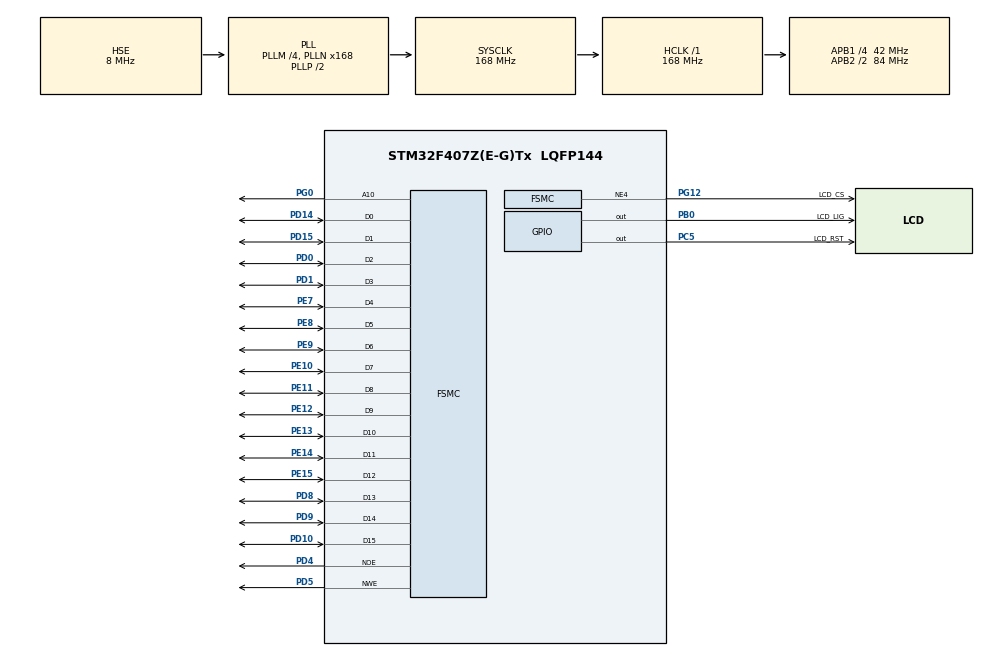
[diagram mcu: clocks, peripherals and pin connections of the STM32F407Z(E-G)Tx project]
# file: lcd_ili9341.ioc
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FSMC.AddressSetupTime1=6
FSMC.BusTurnAroundDuration1=0
FSMC.DataSetupTime1=6
Mcu.Family=STM32F4
Mcu.Name=STM32F407Z(E-G)Tx
Mcu.Package=LQFP144
NVIC.PriorityGroup=NVIC_PRIORITYGROUP_4
PB0.GPIO_Label=LCD_LIG
PB0.PinState=GPIO_PIN_SET
PB0.Signal=GPIO_Output
PC5.GPIO_Label=LCD_RST
PC5.PinState=GPIO_PIN_RESET
PC5.Signal=GPIO_Output
PD0.Signal=FSMC_D2_DA2
PD1.Signal=FSMC_D3_DA3
PD10.Signal=FSMC_D15_DA15
PD14.Signal=FSMC_D0_DA0
PD15.Signal=FSMC_D1_DA1
PD4.Signal=FSMC_NOE
PD5.Signal=FSMC_NWE
PD8.Signal=FSMC_D13_DA13
PD9.Signal=FSMC_D14_DA14
PE10.Signal=FSMC_D7_DA7
PE11.Signal=FSMC_D8_DA8
PE12.Signal=FSMC_D9_DA9
PE13.Signal=FSMC_D10_DA10
PE14.Signal=FSMC_D11_DA11
PE15.Signal=FSMC_D12_DA12
PE7.Signal=FSMC_D4_DA4
PE8.Signal=FSMC_D5_DA5
PE9.Signal=FSMC_D6_DA6
PG0.Signal=FSMC_A10
PG12.GPIO_Label=LCD_CS
PG12.Mode=NorPsramChipSelect4_1
PG12.Signal=FSMC_NE4
PH0-OSC_IN.Mode=HSE-External-Oscillator
PH0-OSC_IN.Signal=RCC_OSC_IN
PH1-OSC_OUT.Mode=HSE-External-Oscillator
PH1-OSC_OUT.Signal=RCC_OSC_OUT
ProjectManager.HeapSize=0x200
ProjectManager.StackSize=0x400
ProjectManager.TargetToolchain=SW4STM32
RCC.48MHZClocksFreq_Value=84000000
RCC.AHBFreq_Value=168000000
RCC.APB1CLKDivider=RCC_HCLK_DIV4
RCC.APB1Freq_Value=42000000
RCC.APB1TimFreq_Value=84000000
RCC.APB2CLKDivider=RCC_HCLK_DIV2
RCC.APB2Freq_Value=84000000
RCC.APB2TimFreq_Value=168000000
RCC.CortexFreq_Value=168000000
RCC.HCLKFreq_Value=168000000
RCC.HSE_VALUE=8000000
RCC.HSI_VALUE=16000000
RCC.LSE_VALUE=32768
RCC.PLLM=4
RCC.PLLN=168
RCC.PLLSourceVirtual=RCC_PLLSOURCE_HSE
RCC.SYSCLKFreq_VALUE=168000000
RCC.SYSCLKSource=RCC_SYSCLKSOURCE_PLLCLK
RCC.VCOOutputFreq_Value=336000000
SH.FSMC_A10.0=FSMC_A10,A10_1
SH.FSMC_D0_DA0.0=FSMC_D0,16b-d1
SH.FSMC_D10_DA10.0=FSMC_D10,16b-d1
SH.FSMC_D11_DA11.0=FSMC_D11,16b-d1
SH.FSMC_D12_DA12.0=FSMC_D12,16b-d1
SH.FSMC_D13_DA13.0=FSMC_D13,16b-d1
SH.FSMC_D14_DA14.0=FSMC_D14,16b-d1
SH.FSMC_D15_DA15.0=FSMC_D15,16b-d1
SH.FSMC_D1_DA1.0=FSMC_D1,16b-d1
SH.FSMC_D2_DA2.0=FSMC_D2,16b-d1
SH.FSMC_D3_DA3.0=FSMC_D3,16b-d1
SH.FSMC_D4_DA4.0=FSMC_D4,16b-d1
SH.FSMC_D5_DA5.0=FSMC_D5,16b-d1
SH.FSMC_D6_DA6.0=FSMC_D6,16b-d1
SH.FSMC_D7_DA7.0=FSMC_D7,16b-d1
SH.FSMC_D8_DA8.0=FSMC_D8,16b-d1
SH.FSMC_D9_DA9.0=FSMC_D9,16b-d1
SH.FSMC_NOE.0=FSMC_NOE,Lcd1
SH.FSMC_NWE.0=FSMC_NWE,Lcd1
board=custom

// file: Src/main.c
/* USER CODE BEGIN Header */
/**
  ******************************************************************************
  * @file           : main.c
  * @brief          : Main program body
  ******************************************************************************
  * @attention
  *
  * <h2><center>&copy; Copyright (c) 2019 STMicroelectronics.
  * All rights reserved.</center></h2>
  *
  * This software component is licensed by ST under BSD 3-Clause license,
  * the "License"; You may not use this file except in compliance with the
  * License. You may obtain a copy of the License at:
  *                        opensource.org/licenses/BSD-3-Clause
  *
  ******************************************************************************
  */
/* USER CODE END Header */

#include "main.h"
#include "MA_ILI9341.h"

/* USER CODE BEGIN PTD */
#define LCD_COMMAND 0x6C000000

#define LCD_DATA 0x6C000800

#define SCREEN_VERTICAL_1			0
#define SCREEN_HORIZONTAL_1		1
#define SCREEN_VERTICAL_2			2
#define SCREEN_HORIZONTAL_2		3

#define ILI9341_SCREEN_HEIGHT 240
#define ILI9341_SCREEN_WIDTH 	320
/* USER CODE END PTD */

/* USER CODE BEGIN PD */

typedef unsigned char       u8;
typedef unsigned short      u16;
typedef struct
{
	u16 LCD_REG;
	u16 LCD_RAM;
} LCD_TypeDef;
#define	 LCD_BASE        ((u16)(0x6C000000 | 0x000007FE))
#define  LCD             ((LCD_TypeDef *) LCD_BASE)
/* USER CODE END PD */

SRAM_HandleTypeDef hsram1;

void SystemClock_Config(void);
static void MX_GPIO_Init(void);
static void MX_FSMC_Init(void);

int main(void)
{

  /* MCU Configuration--------------------------------------------------------*/

  /* Reset of all peripherals, Initializes the Flash interface and the Systick. */
  HAL_Init();

  /* Configure the system clock */
  SystemClock_Config();

  /* Initialize all configured peripherals */
  MX_GPIO_Init();
  MX_FSMC_Init();
  /* USER CODE BEGIN 2 */
  HAL_GPIO_WritePin(LCD_RST_GPIO_Port, LCD_RST_Pin, GPIO_PIN_RESET);
  	HAL_Delay(20);
  	HAL_GPIO_WritePin(LCD_RST_GPIO_Port, LCD_RST_Pin, GPIO_PIN_SET);
  	HAL_Delay(200);
  	ILI9341_Init();
  	ILI9341_setRotation(3);
  	ILI9341_Fill(COLOR_BLUE);

  		//Draw and fill circle
  		ILI9341_drawCircle(50,50, 40, COLOR_GREEN);
  		ILI9341_fillCircle(110,190, 80, COLOR_RED);
  		//Print text
  		ILI9341_printText("TEST!!!", 10, 90, COLOR_YELLOW, COLOR_YELLOW, 1);
  		//Print-Fill triangle
  		ILI9341_fillTriangle(10, 160, 110, 160, 190, 300, COLOR_BLACK);

  /* Infinite loop */
  while (1)
  {

  }
}

void SystemClock_Config(void)
{
  RCC_OscInitTypeDef RCC_OscInitStruct = {0};
  RCC_ClkInitTypeDef RCC_ClkInitStruct = {0};

  /** Configure the main internal regulator output voltage
  */
  __HAL_RCC_PWR_CLK_ENABLE();
  __HAL_PWR_VOLTAGESCALING_CONFIG(PWR_REGULATOR_VOLTAGE_SCALE1);
  /** Initializes the CPU, AHB and APB busses clocks
  */
  RCC_OscInitStruct.OscillatorType = RCC_OSCILLATORTYPE_HSE;
  RCC_OscInitStruct.HSEState = RCC_HSE_ON;
  RCC_OscInitStruct.PLL.PLLState = RCC_PLL_ON;
  RCC_OscInitStruct.PLL.PLLSource = RCC_PLLSOURCE_HSE;
  RCC_OscInitStruct.PLL.PLLM = 4;
  RCC_OscInitStruct.PLL.PLLN = 168;
  RCC_OscInitStruct.PLL.PLLP = RCC_PLLP_DIV2;
  RCC_OscInitStruct.PLL.PLLQ = 4;
  if (HAL_RCC_OscConfig(&RCC_OscInitStruct) != HAL_OK)
  {
    Error_Handler();
  }
  /** Initializes the CPU, AHB and APB busses clocks
  */
  RCC_ClkInitStruct.ClockType = RCC_CLOCKTYPE_HCLK|RCC_CLOCKTYPE_SYSCLK
                              |RCC_CLOCKTYPE_PCLK1|RCC_CLOCKTYPE_PCLK2;
  RCC_ClkInitStruct.SYSCLKSource = RCC_SYSCLKSOURCE_PLLCLK;
  RCC_ClkInitStruct.AHBCLKDivider = RCC_SYSCLK_DIV1;
  RCC_ClkInitStruct.APB1CLKDivider = RCC_HCLK_DIV4;
  RCC_ClkInitStruct.APB2CLKDivider = RCC_HCLK_DIV2;

  if (HAL_RCC_ClockConfig(&RCC_ClkInitStruct, FLASH_LATENCY_5) != HAL_OK)
  {
    Error_Handler();
  }
}

static void MX_GPIO_Init(void)
{
  GPIO_InitTypeDef GPIO_InitStruct = {0};

  /* GPIO Ports Clock Enable */
  __HAL_RCC_GPIOH_CLK_ENABLE();
  __HAL_RCC_GPIOC_CLK_ENABLE();
  __HAL_RCC_GPIOB_CLK_ENABLE();
  __HAL_RCC_GPIOG_CLK_ENABLE();
  __HAL_RCC_GPIOE_CLK_ENABLE();
  __HAL_RCC_GPIOD_CLK_ENABLE();

  /*Configure GPIO pin Output Level */
  HAL_GPIO_WritePin(LCD_RST_GPIO_Port, LCD_RST_Pin, GPIO_PIN_RESET);

  /*Configure GPIO pin Output Level */
  HAL_GPIO_WritePin(LCD_LIG_GPIO_Port, LCD_LIG_Pin, GPIO_PIN_SET);

  /*Configure GPIO pin : LCD_RST_Pin */
  GPIO_InitStruct.Pin = LCD_RST_Pin;
  GPIO_InitStruct.Mode = GPIO_MODE_OUTPUT_PP;
  GPIO_InitStruct.Pull = GPIO_NOPULL;
  GPIO_InitStruct.Speed = GPIO_SPEED_FREQ_LOW;
  HAL_GPIO_Init(LCD_RST_GPIO_Port, &GPIO_InitStruct);

  /*Configure GPIO pin : LCD_LIG_Pin */
  GPIO_InitStruct.Pin = LCD_LIG_Pin;
  GPIO_InitStruct.Mode = GPIO_MODE_OUTPUT_PP;
  GPIO_InitStruct.Pull = GPIO_NOPULL;
  GPIO_InitStruct.Speed = GPIO_SPEED_FREQ_LOW;
  HAL_GPIO_Init(LCD_LIG_GPIO_Port, &GPIO_InitStruct);

}

/* FSMC initialization function */
static void MX_FSMC_Init(void)
{

  FSMC_NORSRAM_TimingTypeDef Timing = {0};

  /** Perform the SRAM1 memory initialization sequence
  */
  hsram1.Instance = FSMC_NORSRAM_DEVICE;
  hsram1.Extended = FSMC_NORSRAM_EXTENDED_DEVICE;
  /* hsram1.Init */
  hsram1.Init.NSBank = FSMC_NORSRAM_BANK4;
  hsram1.Init.DataAddressMux = FSMC_DATA_ADDRESS_MUX_DISABLE;
  hsram1.Init.MemoryType = FSMC_MEMORY_TYPE_SRAM;
  hsram1.Init.MemoryDataWidth = FSMC_NORSRAM_MEM_BUS_WIDTH_16;
  hsram1.Init.BurstAccessMode = FSMC_BURST_ACCESS_MODE_DISABLE;
  hsram1.Init.WaitSignalPolarity = FSMC_WAIT_SIGNAL_POLARITY_LOW;
  hsram1.Init.WrapMode = FSMC_WRAP_MODE_DISABLE;
  hsram1.Init.WaitSignalActive = FSMC_WAIT_TIMING_BEFORE_WS;
  hsram1.Init.WriteOperation = FSMC_WRITE_OPERATION_ENABLE;
  hsram1.Init.WaitSignal = FSMC_WAIT_SIGNAL_DISABLE;
  hsram1.Init.ExtendedMode = FSMC_EXTENDED_MODE_DISABLE;
  hsram1.Init.AsynchronousWait = FSMC_ASYNCHRONOUS_WAIT_DISABLE;
  hsram1.Init.WriteBurst = FSMC_WRITE_BURST_DISABLE;
  hsram1.Init.PageSize = FSMC_PAGE_SIZE_NONE;
  /* Timing */
  Timing.AddressSetupTime = 6;
  Timing.AddressHoldTime = 15;
  Timing.DataSetupTime = 6;
  Timing.BusTurnAroundDuration = 0;
  Timing.CLKDivision = 16;
  Timing.DataLatency = 17;
  Timing.AccessMode = FSMC_ACCESS_MODE_A;
  /* ExtTiming */

  if (HAL_SRAM_Init(&hsram1, &Timing, NULL) != HAL_OK)
  {
    Error_Handler( );
  }

}

void Error_Handler(void)
{
}

/************************ (C) COPYRIGHT STMicroelectronics *****END OF FILE****/
